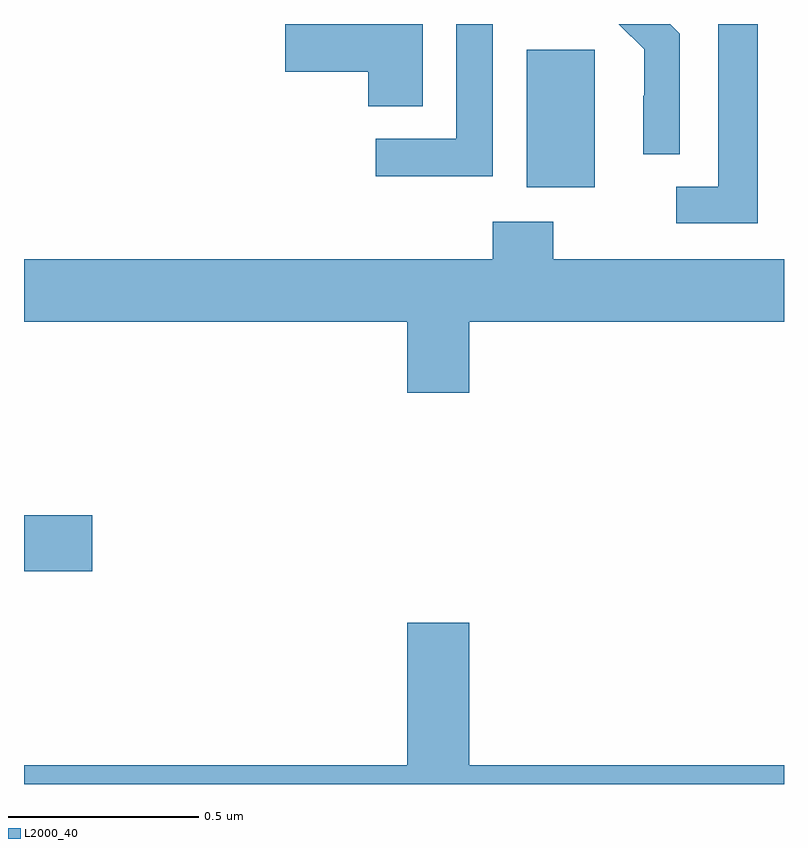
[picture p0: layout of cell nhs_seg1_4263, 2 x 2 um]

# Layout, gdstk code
import gdstk
lib = gdstk.Library(unit=1e-6, precision=1e-09)
def R(c, l, rs):  # rectangles x0, y0, x1, y1
    for r in rs: c.add(gdstk.rectangle(r[:2], r[2:], *l))
def P(c, l, *ps):  # polygons
    for p in ps: c.add(gdstk.Polygon(p, *l))
L2000_40 = (2000, 40)

nhs_seg1_4263 = lib.new_cell('nhs_seg1_4263')
R(nhs_seg1_4263, L2000_40, [(164,533.759,164.179,533.906), (165.323,534.77,165.502,535.131)])
P(nhs_seg1_4263, L2000_40, [(165.234,535.199),(165.138,535.199),(165.138,534.897),(164.925,534.897),(164.925,534.799),(165.234,534.799)],
  [(165.726,535.174),(165.701,535.199),(165.565,535.199),(165.632,535.133),(165.632,535.01),(165.63,535.01),(165.63,534.856),(165.726,534.856)],
  [(165.931,535.199),(165.827,535.199),(165.827,534.771),(165.717,534.771),(165.717,534.675),(165.931,534.675)],
  [(165.049,535.199),(164.688,535.199),(164.688,535.073),(164.906,535.073),(164.906,534.982),(165.049,534.982)],
  [(165.172,534.416),(166,534.416),(166,534.58),(165.393,534.58),(165.393,534.679),(165.233,534.679),(165.233,534.58),(164,534.58),(164,534.416),(165.008,534.416),(165.008,534.228),(165.172,534.228)],
  [(166,533.248),(165.172,533.248),(165.172,533.623),(165.008,533.623),(165.008,533.248),(164,533.248),(164,533.199),(166,533.199)])

lib.write_gds('nhs_seg1_4263.gds')
